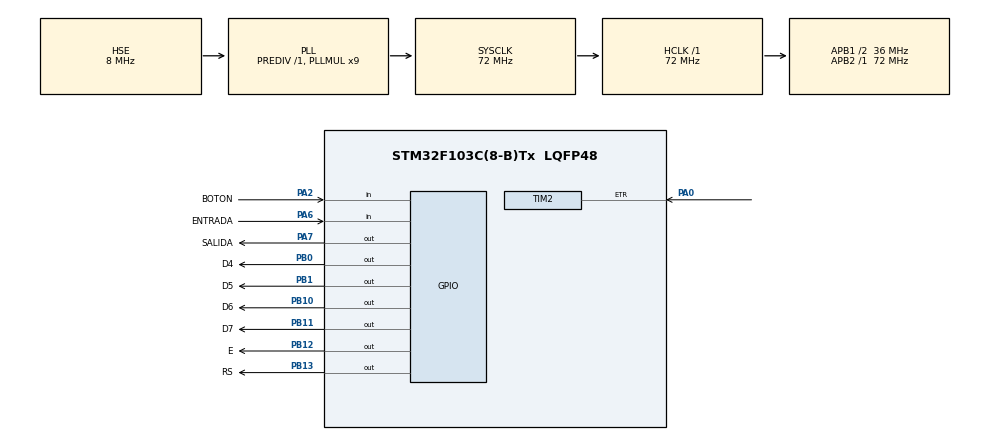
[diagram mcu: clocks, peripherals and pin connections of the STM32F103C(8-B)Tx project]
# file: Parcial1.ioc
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Mcu.Family=STM32F1
Mcu.Name=STM32F103C(8-B)Tx
Mcu.Package=LQFP48
NVIC.PriorityGroup=NVIC_PRIORITYGROUP_4
NVIC.TIM2_IRQn=true\:0\:0\:false\:false\:true\:true\:true\:true
NVIC.TIM3_IRQn=true\:0\:0\:false\:false\:true\:true\:true\:true
PA0-WKUP.Signal=S_TIM2_CH1_ETR
PA13.Mode=Serial_Wire
PA13.Signal=SYS_JTMS-SWDIO
PA14.Mode=Serial_Wire
PA14.Signal=SYS_JTCK-SWCLK
PA2.GPIO_Label=BOTON
PA2.Signal=GPIO_Input
PA6.GPIO_Label=ENTRADA
PA6.Signal=GPIO_Input
PA7.GPIO_Label=SALIDA
PA7.GPIO_Speed=GPIO_SPEED_FREQ_HIGH
PA7.Signal=GPIO_Output
PB0.GPIO_Label=D4
PB0.GPIO_Speed=GPIO_SPEED_FREQ_HIGH
PB0.Signal=GPIO_Output
PB1.GPIO_Label=D5
PB1.GPIO_Speed=GPIO_SPEED_FREQ_HIGH
PB1.Signal=GPIO_Output
PB10.GPIO_Label=D6
PB10.GPIO_Speed=GPIO_SPEED_FREQ_HIGH
PB10.Signal=GPIO_Output
PB11.GPIO_Label=D7
PB11.GPIO_Speed=GPIO_SPEED_FREQ_HIGH
PB11.Signal=GPIO_Output
PB12.GPIO_Label=E
PB12.GPIO_Speed=GPIO_SPEED_FREQ_HIGH
PB12.Signal=GPIO_Output
PB13.GPIO_Label=RS
PB13.GPIO_Speed=GPIO_SPEED_FREQ_HIGH
PB13.Signal=GPIO_Output
PD0-OSC_IN.Mode=HSE-External-Oscillator
PD0-OSC_IN.Signal=RCC_OSC_IN
PD1-OSC_OUT.Mode=HSE-External-Oscillator
PD1-OSC_OUT.Signal=RCC_OSC_OUT
ProjectManager.HeapSize=0x200
ProjectManager.StackSize=0x400
ProjectManager.TargetToolchain=STM32CubeIDE
RCC.AHBFreq_Value=72000000
RCC.APB1CLKDivider=RCC_HCLK_DIV2
RCC.APB1Freq_Value=36000000
RCC.APB1TimFreq_Value=72000000
RCC.APB2Freq_Value=72000000
RCC.APB2TimFreq_Value=72000000
RCC.HCLKFreq_Value=72000000
RCC.PLLMUL=RCC_PLL_MUL9
RCC.PLLSourceVirtual=RCC_PLLSOURCE_HSE
RCC.SYSCLKFreq_VALUE=72000000
RCC.SYSCLKSource=RCC_SYSCLKSOURCE_PLLCLK
RCC.USBFreq_Value=72000000
SH.S_TIM2_CH1_ETR.0=TIM2_ETR,ClockSourceETR_Mode2
TIM2.AutoReloadPreload=TIM_AUTORELOAD_PRELOAD_ENABLE
TIM2.Period=65535
TIM3.AutoReloadPreload=TIM_AUTORELOAD_PRELOAD_ENABLE
TIM3.Period=36000-1
TIM3.Prescaler=100
VP_TIM3_VS_ClockSourceINT.Mode=Internal
board=custom

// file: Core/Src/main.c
/* USER CODE BEGIN Header */
/**
  ******************************************************************************
  * @file           : main.c
  * @brief          : Main program body
  ******************************************************************************
  * @attention
  *
  * Copyright (c) 2022 STMicroelectronics.
  * All rights reserved.
  *
  * This software is licensed under terms that can be found in the LICENSE file
  * in the root directory of this software component.
  * If no LICENSE file comes with this software, it is provided AS-IS.
  *
  ******************************************************************************
  */
/* USER CODE END Header */
#include "main.h"

/* USER CODE BEGIN Includes */
#include <stdio.h>

/* USER CODE END Includes */

TIM_HandleTypeDef htim2;
TIM_HandleTypeDef htim3;

/* USER CODE BEGIN PV */
	void comando (unsigned char cmd, unsigned char type);
	void dato (unsigned char cmd, unsigned char type);
	void lcdmensaje(char *frase);
	void initled();
	volatile uint32_t contadorF= 0x00;
	volatile uint32_t Freq = 0;
	char texto[40] = {'\0'};
	char texto2[40] = {'\0'};
	TIM_HandleTypeDef htim2;
	TIM_HandleTypeDef htim3;
	const double cap=0.000000002092;
	double ind=0;

/* USER CODE END PV */

void SystemClock_Config(void);
static void MX_GPIO_Init(void);
static void MX_TIM2_Init(void);
static void MX_TIM3_Init(void);

int main(void)
{

  /* MCU Configuration--------------------------------------------------------*/

  /* Reset of all peripherals, Initializes the Flash interface and the Systick. */
  HAL_Init();

  /* Configure the system clock */
  SystemClock_Config();

  /* Initialize all configured peripherals */
  MX_GPIO_Init();
  MX_TIM2_Init();
  MX_TIM3_Init();
  /* USER CODE BEGIN 2 */
  initled();
  HAL_TIM_Base_Start(&htim2);
  HAL_TIM_Base_Start_IT(&htim3);
  /* USER CODE END 2 */

  /* Infinite loop */
  /* USER CODE BEGIN WHILE */
  while (1)
  {

	  comando(0x80,0);
	  lcdmensaje("               ");
	  comando(0x80,0);
	  lcdmensaje("Freq:");
	  if(Freq<10000){
	  	  sprintf(texto, "%d", Freq);
	  	  lcdmensaje(texto);
	  	  lcdmensaje("Hz");
	  	  HAL_Delay(500);
	  	  }
	  else if(Freq>10000 && Freq<1000000){
		  Freq=Freq/1000;
		  sprintf(texto, "%d", Freq);
		  lcdmensaje(texto);
		  lcdmensaje("kHz");
		  HAL_Delay(500);
	  }
	  else if(Freq>1000000){
	  	  Freq=Freq/1000000;
	  	  sprintf(texto, "%d", Freq);
	  	  lcdmensaje(texto);
	  	  lcdmensaje("MHz");
	  	  HAL_Delay(500);
	  }
	  comando(0xC0,0);
	  lcdmensaje("               ");
	  comando(0xC0,0);
	  lcdmensaje("induc:");
	  ind=1.0/(4.0*(3.1416*3.1416)*((double)Freq*(double)Freq)*cap);
	  if(ind>0.001){
		  ind=ind*1000.0;
		  sprintf(texto2, "%.2f",ind);
		  lcdmensaje(texto2);
		  lcdmensaje("mH");
		  HAL_Delay(500);
	  }
	  if(ind>0.000001 && ind<0.001){
	  		  ind=ind*1000000.0;
	  		  sprintf(texto2, "%.2f",ind);
	  		  lcdmensaje(texto2);
	  		  lcdmensaje("uH");
	  		  HAL_Delay(500);
	  	  }

    /* USER CODE END WHILE */

  }
}

void SystemClock_Config(void)
{
  RCC_OscInitTypeDef RCC_OscInitStruct = {0};
  RCC_ClkInitTypeDef RCC_ClkInitStruct = {0};

  /** Initializes the RCC Oscillators according to the specified parameters
  * in the RCC_OscInitTypeDef structure.
  */
  RCC_OscInitStruct.OscillatorType = RCC_OSCILLATORTYPE_HSE;
  RCC_OscInitStruct.HSEState = RCC_HSE_ON;
  RCC_OscInitStruct.HSEPredivValue = RCC_HSE_PREDIV_DIV1;
  RCC_OscInitStruct.HSIState = RCC_HSI_ON;
  RCC_OscInitStruct.PLL.PLLState = RCC_PLL_ON;
  RCC_OscInitStruct.PLL.PLLSource = RCC_PLLSOURCE_HSE;
  RCC_OscInitStruct.PLL.PLLMUL = RCC_PLL_MUL9;
  if (HAL_RCC_OscConfig(&RCC_OscInitStruct) != HAL_OK)
  {
    Error_Handler();
  }

  /** Initializes the CPU, AHB and APB buses clocks
  */
  RCC_ClkInitStruct.ClockType = RCC_CLOCKTYPE_HCLK|RCC_CLOCKTYPE_SYSCLK
                              |RCC_CLOCKTYPE_PCLK1|RCC_CLOCKTYPE_PCLK2;
  RCC_ClkInitStruct.SYSCLKSource = RCC_SYSCLKSOURCE_PLLCLK;
  RCC_ClkInitStruct.AHBCLKDivider = RCC_SYSCLK_DIV1;
  RCC_ClkInitStruct.APB1CLKDivider = RCC_HCLK_DIV2;
  RCC_ClkInitStruct.APB2CLKDivider = RCC_HCLK_DIV1;

  if (HAL_RCC_ClockConfig(&RCC_ClkInitStruct, FLASH_LATENCY_2) != HAL_OK)
  {
    Error_Handler();
  }
}

static void MX_TIM2_Init(void)
{

  TIM_ClockConfigTypeDef sClockSourceConfig = {0};
  TIM_MasterConfigTypeDef sMasterConfig = {0};

  htim2.Instance = TIM2;
  htim2.Init.Prescaler = 0;
  htim2.Init.CounterMode = TIM_COUNTERMODE_UP;
  htim2.Init.Period = 65535;
  htim2.Init.ClockDivision = TIM_CLOCKDIVISION_DIV1;
  htim2.Init.AutoReloadPreload = TIM_AUTORELOAD_PRELOAD_ENABLE;
  if (HAL_TIM_Base_Init(&htim2) != HAL_OK)
  {
    Error_Handler();
  }
  sClockSourceConfig.ClockSource = TIM_CLOCKSOURCE_ETRMODE2;
  sClockSourceConfig.ClockPolarity = TIM_CLOCKPOLARITY_NONINVERTED;
  sClockSourceConfig.ClockPrescaler = TIM_CLOCKPRESCALER_DIV1;
  sClockSourceConfig.ClockFilter = 0;
  if (HAL_TIM_ConfigClockSource(&htim2, &sClockSourceConfig) != HAL_OK)
  {
    Error_Handler();
  }
  sMasterConfig.MasterOutputTrigger = TIM_TRGO_RESET;
  sMasterConfig.MasterSlaveMode = TIM_MASTERSLAVEMODE_DISABLE;
  if (HAL_TIMEx_MasterConfigSynchronization(&htim2, &sMasterConfig) != HAL_OK)
  {
    Error_Handler();
  }

}

static void MX_TIM3_Init(void)
{

  TIM_ClockConfigTypeDef sClockSourceConfig = {0};
  TIM_MasterConfigTypeDef sMasterConfig = {0};

  htim3.Instance = TIM3;
  htim3.Init.Prescaler = 100;
  htim3.Init.CounterMode = TIM_COUNTERMODE_UP;
  htim3.Init.Period = 36000-1;
  htim3.Init.ClockDivision = TIM_CLOCKDIVISION_DIV1;
  htim3.Init.AutoReloadPreload = TIM_AUTORELOAD_PRELOAD_ENABLE;
  if (HAL_TIM_Base_Init(&htim3) != HAL_OK)
  {
    Error_Handler();
  }
  sClockSourceConfig.ClockSource = TIM_CLOCKSOURCE_INTERNAL;
  if (HAL_TIM_ConfigClockSource(&htim3, &sClockSourceConfig) != HAL_OK)
  {
    Error_Handler();
  }
  sMasterConfig.MasterOutputTrigger = TIM_TRGO_RESET;
  sMasterConfig.MasterSlaveMode = TIM_MASTERSLAVEMODE_DISABLE;
  if (HAL_TIMEx_MasterConfigSynchronization(&htim3, &sMasterConfig) != HAL_OK)
  {
    Error_Handler();
  }

}

static void MX_GPIO_Init(void)
{
  GPIO_InitTypeDef GPIO_InitStruct = {0};

  /* GPIO Ports Clock Enable */
  __HAL_RCC_GPIOD_CLK_ENABLE();
  __HAL_RCC_GPIOA_CLK_ENABLE();
  __HAL_RCC_GPIOB_CLK_ENABLE();

  /*Configure GPIO pin Output Level */
  HAL_GPIO_WritePin(SALIDA_GPIO_Port, SALIDA_Pin, GPIO_PIN_RESET);

  /*Configure GPIO pin Output Level */
  HAL_GPIO_WritePin(GPIOB, D4_Pin|D5_Pin|D6_Pin|D7_Pin
                          |E_Pin|RS_Pin, GPIO_PIN_RESET);

  /*Configure GPIO pins : BOTON_Pin ENTRADA_Pin */
  GPIO_InitStruct.Pin = BOTON_Pin|ENTRADA_Pin;
  GPIO_InitStruct.Mode = GPIO_MODE_INPUT;
  GPIO_InitStruct.Pull = GPIO_NOPULL;
  HAL_GPIO_Init(GPIOA, &GPIO_InitStruct);

  /*Configure GPIO pin : SALIDA_Pin */
  GPIO_InitStruct.Pin = SALIDA_Pin;
  GPIO_InitStruct.Mode = GPIO_MODE_OUTPUT_PP;
  GPIO_InitStruct.Pull = GPIO_NOPULL;
  GPIO_InitStruct.Speed = GPIO_SPEED_FREQ_HIGH;
  HAL_GPIO_Init(SALIDA_GPIO_Port, &GPIO_InitStruct);

  /*Configure GPIO pins : D4_Pin D5_Pin D6_Pin D7_Pin
                           E_Pin RS_Pin */
  GPIO_InitStruct.Pin = D4_Pin|D5_Pin|D6_Pin|D7_Pin
                          |E_Pin|RS_Pin;
  GPIO_InitStruct.Mode = GPIO_MODE_OUTPUT_PP;
  GPIO_InitStruct.Pull = GPIO_NOPULL;
  GPIO_InitStruct.Speed = GPIO_SPEED_FREQ_HIGH;
  HAL_GPIO_Init(GPIOB, &GPIO_InitStruct);

}

/* USER CODE BEGIN 4 */
void comando(unsigned char cmd, unsigned char type){

	unsigned char t1,t2,i;

	HAL_GPIO_WritePin(GPIOB,E_Pin, 0);
	HAL_GPIO_WritePin(GPIOB,RS_Pin,0);
	t1=(cmd>>4)&0x0F;
	for(i=0;i<4;i++){
		t2=t1&0x01;
		switch(i){
			case 0:
				HAL_GPIO_WritePin(GPIOB,D4_Pin, t2);
				break;
			case 1:
				HAL_GPIO_WritePin(GPIOB,D5_Pin, t2);
				break;
			case 2:
				HAL_GPIO_WritePin(GPIOB,D6_Pin, t2);
				break;
			case 3:
				HAL_GPIO_WritePin(GPIOB,D7_Pin, t2);
				break;

		}
		t1=t1>>1;
	}
	HAL_GPIO_WritePin(GPIOB,E_Pin, 1);
	HAL_Delay(1);
	HAL_GPIO_WritePin(GPIOB,E_Pin, 0);
	HAL_Delay(1);

	t1=cmd & 0x0F;
				for(i=0;i<4;i++){
					t2=t1&0x01;
					switch(i){
						case 0:
							HAL_GPIO_WritePin(GPIOB,D4_Pin, t2);
							break;
						case 1:
							HAL_GPIO_WritePin(GPIOB,D5_Pin, t2);
							break;
						case 2:
							HAL_GPIO_WritePin(GPIOB,D6_Pin, t2);
							break;
						case 3:
							HAL_GPIO_WritePin(GPIOB,D7_Pin, t2);
							break;

					}
					t1=t1>>1;
				}

	HAL_GPIO_WritePin(GPIOB,E_Pin, 1);
	HAL_Delay(1);
	HAL_GPIO_WritePin(GPIOB,E_Pin, 0);
	HAL_Delay(1);

}
void dato(unsigned char cmd, unsigned char type){

	unsigned char t1,t2,i;

	HAL_GPIO_WritePin(GPIOB,E_Pin, 0);
	HAL_GPIO_WritePin(GPIOB,RS_Pin,1);
	t1=(cmd>>4)&0x0F;
	for(i=0;i<4;i++){
		t2=t1&0x01;
		switch(i){
			case 0:
				HAL_GPIO_WritePin(GPIOB,D4_Pin, t2);
				break;
			case 1:
				HAL_GPIO_WritePin(GPIOB,D5_Pin, t2);
				break;
			case 2:
				HAL_GPIO_WritePin(GPIOB,D6_Pin, t2);
				break;
			case 3:
				HAL_GPIO_WritePin(GPIOB,D7_Pin, t2);
				break;

		}
		t1=t1>>1;
	}
	HAL_GPIO_WritePin(GPIOB,E_Pin, 1);
	HAL_Delay(1);
	HAL_GPIO_WritePin(GPIOB,E_Pin, 0);
	HAL_Delay(1);

	t1=cmd & 0x0F;
				for(i=0;i<4;i++){
					t2=t1&0x01;
					switch(i){
						case 0:
							HAL_GPIO_WritePin(GPIOB,D4_Pin, t2);
							break;
						case 1:
							HAL_GPIO_WritePin(GPIOB,D5_Pin, t2);
							break;
						case 2:
							HAL_GPIO_WritePin(GPIOB,D6_Pin, t2);
							break;
						case 3:
							HAL_GPIO_WritePin(GPIOB,D7_Pin, t2);
							break;

					}
					t1=t1>>1;
				}

	HAL_GPIO_WritePin(GPIOB,E_Pin, 1);
	HAL_Delay(1);
	HAL_GPIO_WritePin(GPIOB,E_Pin, 0);
	HAL_Delay(1);

}
void initled(){
	HAL_Delay(20);
	comando(0x28,0);
	HAL_Delay(1);
	comando(0x01,0);
	HAL_Delay(1);
	comando(0x02,0);
	HAL_Delay(1);
	comando(0x0C,0);
	HAL_Delay(1);
	comando(0x06,0);
	HAL_Delay(1);
}
void lcdmensaje(char *frase){
	unsigned char cont=0;
	while(frase[cont]!=0){
		dato(frase[cont++],0);
	}
}
void HAL_TIM_PeriodElapsedCallback(TIM_HandleTypeDef* htim)
{
    if(htim->Instance == TIM3)
    {
        contadorF = TIM2->CNT;
        Freq = contadorF * 20;
        TIM3->CNT = 0;
        TIM2->CNT = 0;
    }
}

/* USER CODE END 4 */

void Error_Handler(void)
{
  __disable_irq();
  while (1)
  {
  }
}
